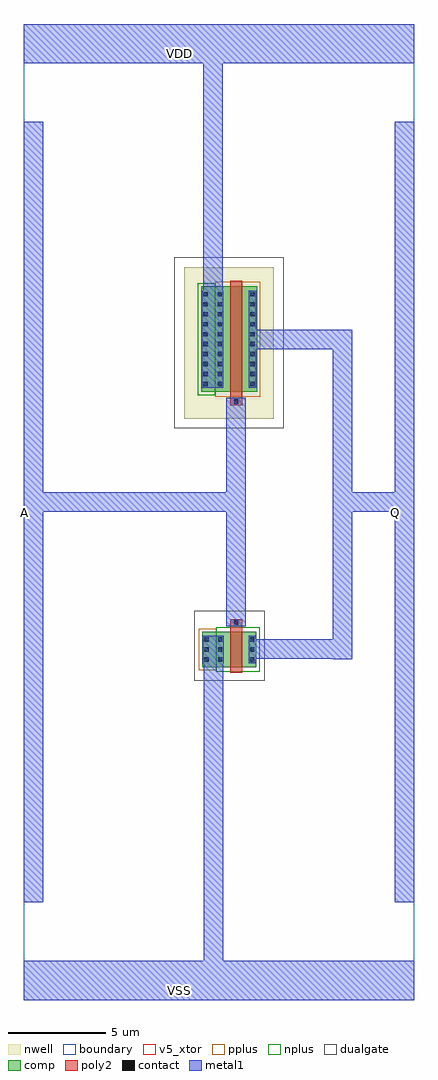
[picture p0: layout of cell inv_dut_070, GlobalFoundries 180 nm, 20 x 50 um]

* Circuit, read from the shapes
.subckt inv_dut_070 A Q VDD VSS
XM1 Q A VSS VSS nfet_05v0 w=1.8u l=0.6u
XM2 Q A VDD VDD pfet_05v0 w=5.4u l=0.6u
.ends

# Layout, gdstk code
from math import pi, radians
import gdstk
lib = gdstk.Library(unit=1e-6, precision=1e-09)
def R(c, l, rs):  # rectangles x0, y0, x1, y1
    for r in rs: c.add(gdstk.rectangle(r[:2], r[2:], *l))
def A(c, l, x, y, w, h, nx, ny, dx, dy):  # array of equal rectangles
    R(c, l, [(x+i*dx, y+j*dy, x+i*dx+w, y+j*dy+h) for i in range(nx) for j in range(ny)])
boundary = (0, 0)
nwell = (21, 0)
comp = (22, 0)
poly2 = (30, 0)
pplus = (31, 0)
nplus = (32, 0)
contact = (33, 0)
metal1 = (34, 0)
dualgate = (55, 0)
v5_xtor = (112, 1)

nfet = lib.new_cell('nfet')
R(nfet, comp, [(-0.42,0,2.35,1.8)])
R(nfet, poly2, [(0.31,-0.66,0.91,2.1)])
R(nfet, pplus, [(1.64,-0.17,2.52,1.97)])
R(nfet, nplus, [(-0.59,-0.24,1.64,2.04)])
A(nfet, contact, -0.32, 0.28, 0.22, 0.22, 1, 3, 0, 0.51)
A(nfet, contact, 1.32, 0.28, 0.22, 0.22, 1, 3, 0, 0.51)
A(nfet, contact, 2.03, 0.28, 0.22, 0.22, 1, 3, 0, 0.51)
R(nfet, contact, [(0.5,-0.59,0.72,-0.37)])
R(nfet, metal1, [(0.42,-0.67,0.8,-0.29), (-0.4,0.2,-0.02,1.6), (1.24,0.2,1.62,1.6), (1.95,0.2,2.33,1.6)])
R(nfet, dualgate, [(-0.84,-1.08,2.77,2.51)])
R(nfet, v5_xtor, [(-0.84,-1.08,2.77,2.51)])

pfet = lib.new_cell('pfet')
R(pfet, nwell, [(-1.32,-0.99,3.27,6.77)])
R(pfet, comp, [(-0.46,0,2.41,5.4)])
R(pfet, poly2, [(0.31,-0.3,0.91,6.08)])
R(pfet, pplus, [(-0.63,-0.24,1.68,5.64)])
R(pfet, nplus, [(1.68,-0.17,2.58,5.57)])
A(pfet, contact, -0.34, 0.295, 0.22, 0.22, 1, 10, 0, 0.51)
A(pfet, contact, 1.34, 0.295, 0.22, 0.22, 1, 10, 0, 0.51)
A(pfet, contact, 2.07, 0.295, 0.22, 0.22, 1, 10, 0, 0.51)
R(pfet, contact, [(0.5,5.78,0.72,6)])
R(pfet, metal1, [(-0.42,0.215,-0.04,5.185), (1.26,0.215,1.64,5.185), (1.99,0.215,2.37,5.185), (0.42,5.7,0.8,6.08)])
R(pfet, dualgate, [(-1.82,-1.49,3.77,7.27)])
R(pfet, v5_xtor, [(-1.82,-1.49,3.77,7.27)])

inv_dut_070 = lib.new_cell('inv_dut_070')
R(inv_dut_070, boundary, [(-10,-25,10,25)])
R(inv_dut_070, metal1, [(-10,-25,10,-23), (-10,-20,-9,20), (9,-20,10,20), (-10,23,10,25)])
inv_dut_070.add(gdstk.FlexPath([(-9.955,0.505),(1.375,0.505)], 1, ends="flush", simple_path=True, layer=34, datatype=0))  # metal1
inv_dut_070.add(gdstk.FlexPath([(6.32,0.52),(9.97,0.52)], 1, ends="flush", simple_path=True, layer=34, datatype=0))  # metal1
inv_dut_070.add(gdstk.FlexPath([(-0.305,6.37),(-0.305,24.025)], 1, ends="flush", simple_path=True, layer=34, datatype=0))  # metal1
inv_dut_070.add(gdstk.FlexPath([(-0.275,-6.345),(-0.275,-24.035)], 1, ends="flush", simple_path=True, layer=34, datatype=0))  # metal1
inv_dut_070.add(gdstk.FlexPath([(0.88,-5.855),(0.88,5.855)], 1, ends="flush", simple_path=True, layer=34, datatype=0))  # metal1
inv_dut_070.add(gdstk.FlexPath([(1.515,-7.03),(6.75,-7.03)], 1, ends="flush", simple_path=True, layer=34, datatype=0))  # metal1
inv_dut_070.add(gdstk.FlexPath([(6.82,8.83),(1.6,8.83)], 1, ends="flush", simple_path=True, layer=34, datatype=0))  # metal1
inv_dut_070.add(gdstk.FlexPath([(6.32,-7.535),(6.32,9.33)], 1, ends="flush", simple_path=True, layer=34, datatype=0))  # metal1
inv_dut_070.add(gdstk.Reference(nfet, (1.495,-6.145), rotation=pi))
inv_dut_070.add(gdstk.Reference(pfet, (1.49,11.555), rotation=pi))
inv_dut_070.add(gdstk.Label('VDD', (-2,23.5), layer=34, texttype=10))
inv_dut_070.add(gdstk.Label('VSS', (-2,-24.5), layer=34, texttype=10))
inv_dut_070.add(gdstk.Label('A', (-9.97,0), layer=34, texttype=10))
inv_dut_070.add(gdstk.Label('Q', (9.03,0), layer=34, texttype=10))

lib.write_gds('inv_dut_070.gds')
